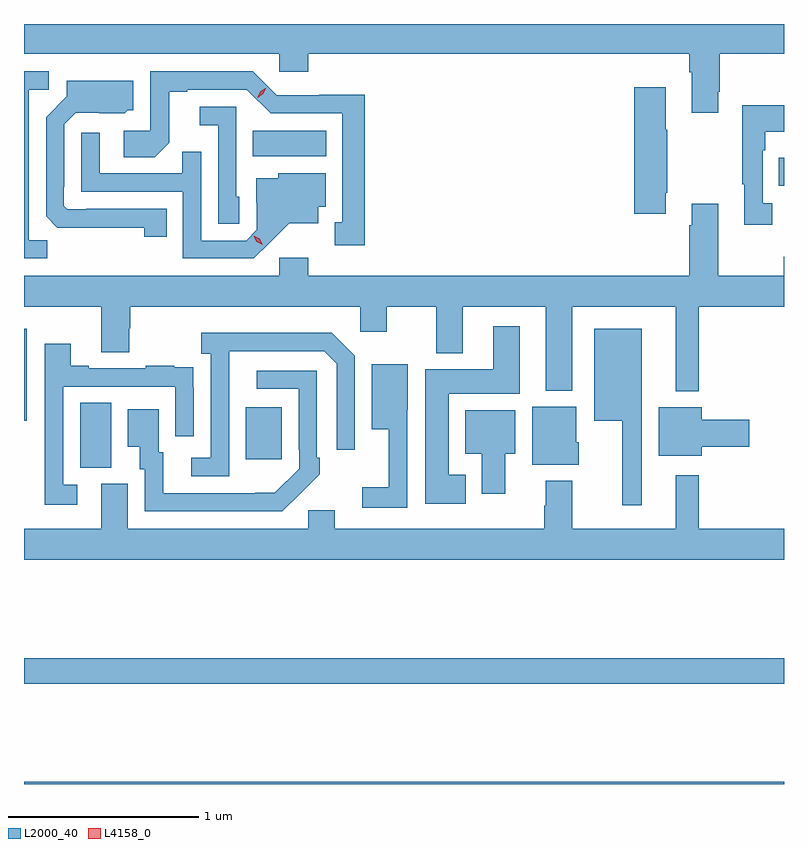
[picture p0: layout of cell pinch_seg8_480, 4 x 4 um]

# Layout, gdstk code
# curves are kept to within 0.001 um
import gdstk
lib = gdstk.Library(unit=1e-6, precision=1e-09)
def R(c, l, rs):  # rectangles x0, y0, x1, y1
    for r in rs: c.add(gdstk.rectangle(r[:2], r[2:], *l))
def P(c, l, *ps):  # polygons
    for p in ps: c.add(gdstk.Polygon(p, *l))
L2000_40 = (2000, 40)
L4158_0 = (4158, 0)

pinch_seg8_480 = lib.new_cell('pinch_seg8_480')
R(pinch_seg8_480, L2000_40, [(213.865,1124.645,217.865,1124.656), (213.865,1125.172,217.865,1125.308), (214.16,1126.309,214.324,1126.652), (215.033,1126.353,215.221,1126.627), (213.865,1126.556,213.88,1127.041), (217.837,1127.794,217.865,1127.941), (215.068,1127.948,215.455,1128.082)])
P(pinch_seg8_480, L2000_40, [(217.519,1128.289),(217.527,1128.289),(217.527,1128.488),(217.865,1128.488),(217.865,1128.645),(213.865,1128.645),(213.865,1128.488),(215.208,1128.488),(215.208,1128.395),(215.36,1128.395),(215.36,1128.488),(217.367,1128.488),(217.367,1128.392),(217.379,1128.392),(217.379,1128.177),(217.519,1128.177)],
  [(215.659,1128.272),(215.418,1128.272),(215.418,1128.27),(215.196,1128.27),(215.07,1128.396),(214.53,1128.396),(214.53,1128.084),(214.389,1128.084),(214.389,1127.944),(214.553,1127.944),(214.629,1128.02),(214.629,1128.288),(214.723,1128.288),(214.723,1128.3),(215.037,1128.3),(215.163,1128.174),(215.54,1128.174),(215.54,1127.601),(215.501,1127.601),(215.501,1127.481),(215.659,1127.481)],
  [(213.987,1127.507),(213.891,1127.507),(213.891,1128.3),(213.994,1128.3),(213.994,1128.396),(213.865,1128.396),(213.865,1127.412),(213.987,1127.412)],
  [(214.616,1127.673),(214.192,1127.673),(214.192,1127.67),(214.092,1127.67),(214.074,1127.688),(214.074,1127.788),(214.077,1127.788),(214.077,1128.117),(214.137,1128.177),(214.394,1128.176),(214.41,1128.192),(214.441,1128.192),(214.441,1128.346),(214.091,1128.346),(214.091,1128.264),(213.981,1128.154),(213.981,1127.632),(214.04,1127.573),(214.498,1127.572),(214.498,1127.526),(214.616,1127.526)],
  [(217.243,1127.758),(217.251,1127.758),(217.251,1128.089),(217.243,1128.089),(217.243,1128.313),(217.076,1128.313),(217.076,1127.646),(217.243,1127.646)],
  [(217.804,1127.702),(217.752,1127.702),(217.752,1127.981),(217.765,1127.981),(217.765,1128.077),(217.865,1128.077),(217.865,1128.217),(217.644,1128.217),(217.644,1127.801),(217.655,1127.801),(217.655,1127.589),(217.804,1127.589)],
  [(214.998,1127.736),(214.983,1127.736),(214.983,1128.21),(214.791,1128.21),(214.791,1128.113),(214.887,1128.113),(214.887,1127.593),(214.998,1127.593)],
  [(215.158,1127.495),(215.261,1127.597),(215.413,1127.597),(215.413,1127.684),(215.452,1127.684),(215.452,1127.86),(215.202,1127.86),(215.202,1127.833),(215.087,1127.833),(215.087,1127.704),(215.091,1127.704),(215.091,1127.562),(215.034,1127.505),(214.797,1127.505),(214.797,1127.972),(214.699,1127.972),(214.699,1127.859),(214.263,1127.859),(214.263,1128.073),(214.167,1128.073),(214.167,1127.763),(214.701,1127.763),(214.701,1127.412),(215.074,1127.412)],
  [(217.417,1127.156),(217.865,1127.156),(217.865,1127.419),(217.864,1127.419),(217.864,1127.32),(217.519,1127.32),(217.519,1127.698),(217.379,1127.698),(217.379,1127.585),(217.367,1127.585),(217.367,1127.32),(215.36,1127.32),(215.36,1127.416),(215.208,1127.416),(215.208,1127.32),(213.865,1127.32),(213.865,1127.156),(214.271,1127.156),(214.271,1126.918),(214.419,1126.918),(214.419,1127.043),(214.424,1127.043),(214.424,1127.156),(215.634,1127.156),(215.634,1127.025),(215.773,1127.025),(215.773,1127.156),(216.035,1127.156),(216.035,1126.913),(216.175,1126.913),(216.175,1127.156),(216.611,1127.156),(216.611,1126.715),(216.751,1126.715),(216.751,1127.156),(217.295,1127.156),(217.295,1126.712),(217.417,1126.712)],
  [(216.19,1126.273),(216.1,1126.273),(216.1,1126.7),(216.475,1126.7),(216.475,1127.053),(216.335,1127.053),(216.335,1126.828),(215.978,1126.828),(215.978,1126.121),(216.19,1126.121)],
  [(217.117,1127.041),(216.866,1127.041),(216.866,1126.556),(217.013,1126.556),(217.013,1126.113),(217.117,1126.113)],
  [(214.944,1126.723),(214.945,1126.923),(215.445,1126.923),(215.511,1126.857),(215.511,1126.404),(215.607,1126.404),(215.607,1126.899),(215.486,1127.02),(214.797,1127.02),(214.797,1126.91),(214.848,1126.91),(214.848,1126.362),(214.746,1126.362),(214.746,1126.266),(214.944,1126.266)],
  [(214.144,1126.221),(214.071,1126.221),(214.071,1126.737),(214.662,1126.737),(214.662,1126.476),(214.758,1126.476),(214.758,1126.73),(214.757,1126.73),(214.757,1126.839),(214.655,1126.839),(214.655,1126.846),(214.507,1126.846),(214.507,1126.833),(214.207,1126.833),(214.207,1126.846),(214.111,1126.846),(214.111,1126.963),(213.975,1126.963),(213.975,1126.46),(213.973,1126.46),(213.973,1126.116),(214.144,1126.116)],
  [(215.883,1126.615),(215.884,1126.615),(215.884,1126.855),(215.696,1126.855),(215.696,1126.511),(215.786,1126.511),(215.786,1126.207),(215.646,1126.207),(215.646,1126.098),(215.883,1126.098)],
  [(215.315,1126.171),(215.316,1126.17),(215.421,1126.275),(215.421,1126.363),(215.406,1126.363),(215.406,1126.821),(215.091,1126.821),(215.091,1126.725),(215.31,1126.725),(215.31,1126.405),(215.313,1126.405),(215.313,1126.305),(215.185,1126.177),(214.597,1126.176),(214.597,1126.392),(214.573,1126.392),(214.573,1126.618),(214.412,1126.618),(214.412,1126.421),(214.475,1126.421),(214.475,1126.302),(214.5,1126.302),(214.5,1126.08),(215.224,1126.08)],
  [(216.784,1126.443),(216.772,1126.443),(216.772,1126.63),(216.539,1126.63),(216.539,1126.325),(216.784,1126.325)],
  [(217.432,1126.42),(217.681,1126.42),(217.681,1126.562),(217.432,1126.562),(217.432,1126.627),(217.205,1126.627),(217.205,1126.373),(217.432,1126.373)],
  [(216.397,1126.382),(216.451,1126.382),(216.451,1126.612),(216.188,1126.612),(216.188,1126.382),(216.275,1126.382),(216.275,1126.173),(216.397,1126.173)],
  [(217.865,1125.988),(217.417,1125.988),(217.417,1126.27),(217.295,1126.27),(217.295,1125.988),(216.751,1125.988),(216.751,1126.24),(216.611,1126.24),(216.611,1126.109),(216.604,1126.109),(216.604,1125.988),(215.5,1125.988),(215.5,1126.086),(215.361,1126.086),(215.361,1125.988),(214.411,1125.988),(214.411,1126.224),(214.271,1126.224),(214.271,1125.988),(213.865,1125.988),(213.865,1125.824),(217.865,1125.824)])
P(pinch_seg8_480, L4158_0, [(215.093,1128.257),(215.093,1128.258),(215.11,1128.29),(215.141,1128.31),(215.141,1128.31),(215.141,1128.31),(215.125,1128.277),(215.094,1128.257)],
  [(215.122,1127.483),(215.091,1127.499),(215.074,1127.529),(215.074,1127.53),(215.075,1127.53),(215.105,1127.514),(215.122,1127.484),(215.122,1127.483)])

lib.write_gds('pinch_seg8_480.gds')
